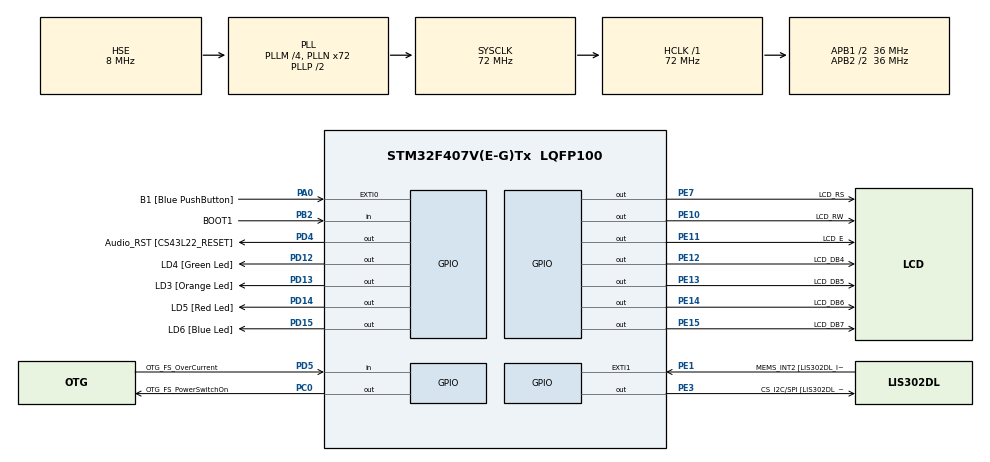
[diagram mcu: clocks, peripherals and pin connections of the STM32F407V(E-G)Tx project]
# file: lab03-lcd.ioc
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Mcu.Family=STM32F4
Mcu.Name=STM32F407V(E-G)Tx
Mcu.Package=LQFP100
NVIC.PriorityGroup=NVIC_PRIORITYGROUP_0
PA0-WKUP.GPIO_Label=B1 [Blue PushButton]
PA0-WKUP.Signal=GPXTI0
PA10.GPIO_Label=OTG_FS_ID
PA10.GPIO_Mode=GPIO_MODE_AF_PP
PA10.GPIO_PuPd=GPIO_NOPULL
PA10.GPIO_Speed=GPIO_SPEED_FREQ_LOW
PA10.Signal=USB_OTG_FS_ID
PA11.GPIO_Label=OTG_FS_DM
PA11.GPIO_Mode=GPIO_MODE_AF_PP
PA11.GPIO_PuPd=GPIO_NOPULL
PA11.GPIO_Speed=GPIO_SPEED_FREQ_LOW
PA11.Signal=USB_OTG_FS_DM
PA12.GPIO_Label=OTG_FS_DP
PA12.GPIO_Mode=GPIO_MODE_AF_PP
PA12.GPIO_PuPd=GPIO_NOPULL
PA12.GPIO_Speed=GPIO_SPEED_FREQ_LOW
PA12.Signal=USB_OTG_FS_DP
PA13.GPIO_Label=SWDIO
PA13.Signal=SYS_JTMS-SWDIO
PA14.GPIO_Label=SWCLK
PA14.Signal=SYS_JTCK-SWCLK
PA4.GPIO_Label=I2S3_WS [CS43L22_LRCK]
PA4.GPIO_Mode=GPIO_MODE_AF_PP
PA4.GPIO_PuPd=GPIO_NOPULL
PA4.GPIO_Speed=GPIO_SPEED_FREQ_LOW
PA4.Signal=I2S3_WS
PA5.GPIO_Label=SPI1_SCK [LIS302DL_SCL/SPC]
PA5.GPIO_Mode=GPIO_MODE_AF_PP
PA5.GPIO_PuPd=GPIO_NOPULL
PA5.GPIO_Speed=GPIO_SPEED_FREQ_LOW
PA5.Signal=SPI1_SCK
PA6.GPIO_Label=SPI1_MISO [LIS302DL_SDO]
PA6.GPIO_Mode=GPIO_MODE_AF_PP
PA6.GPIO_PuPd=GPIO_NOPULL
PA6.GPIO_Speed=GPIO_SPEED_FREQ_LOW
PA6.Signal=SPI1_MISO
PA7.GPIO_Label=SPI1_MOSI [LIS302DL_SDA/SDI/SDO]
PA7.GPIO_Mode=GPIO_MODE_AF_PP
PA7.GPIO_PuPd=GPIO_NOPULL
PA7.GPIO_Speed=GPIO_SPEED_FREQ_LOW
PA7.Signal=SPI1_MOSI
PA9.GPIO_Label=VBUS_FS
PA9.GPIO_Mode=GPIO_MODE_INPUT
PA9.GPIO_PuPd=GPIO_NOPULL
PA9.Signal=USB_OTG_FS_VBUS
PB10.GPIO_Label=CLK_IN [MP45DT02_CLK]
PB10.GPIO_Mode=GPIO_MODE_AF_PP
PB10.GPIO_PuPd=GPIO_NOPULL
PB10.GPIO_Speed=GPIO_SPEED_FREQ_LOW
PB10.Signal=I2S2_CK
PB2.GPIO_Label=BOOT1
PB2.GPIO_Mode=GPIO_MODE_INPUT
PB2.GPIO_PuPd=GPIO_NOPULL
PB2.Signal=GPIO_Input
PB3.GPIO_Label=SWO
PB3.Signal=SYS_JTDO-SWO
PB6.GPIO_Label=Audio_SCL [CS43L22_SCL]
PB6.GPIO_Mode=GPIO_MODE_AF_OD
PB6.GPIO_PuPd=GPIO_NOPULL
PB6.GPIO_Speed=GPIO_SPEED_FREQ_LOW
PB6.Signal=I2C1_SCL
PB9.GPIO_Label=Audio_SDA [CS43L22_SDA]
PB9.GPIO_Mode=GPIO_MODE_AF_OD
PB9.GPIO_PuPd=GPIO_NOPULL
PB9.GPIO_Speed=GPIO_SPEED_FREQ_LOW
PB9.Signal=I2C1_SDA
PC0.GPIO_Label=OTG_FS_PowerSwitchOn
PC0.GPIO_PuPd=GPIO_NOPULL
PC0.GPIO_Speed=GPIO_SPEED_FREQ_LOW
PC0.PinState=GPIO_PIN_SET
PC0.Signal=GPIO_Output
PC10.GPIO_Label=I2S3_SCK [CS43L22_SCLK]
PC10.GPIO_Mode=GPIO_MODE_AF_PP
PC10.GPIO_PuPd=GPIO_NOPULL
PC10.GPIO_Speed=GPIO_SPEED_FREQ_LOW
PC10.Signal=I2S3_CK
PC12.GPIO_Label=I2S3_SD [CS43L22_SDIN]
PC12.GPIO_Mode=GPIO_MODE_AF_PP
PC12.GPIO_PuPd=GPIO_NOPULL
PC12.GPIO_Speed=GPIO_SPEED_FREQ_LOW
PC12.Signal=I2S3_SD
PC14-OSC32_IN.GPIO_Label=PC14-OSC32_IN
PC14-OSC32_IN.Mode=LSE-External-Oscillator
PC14-OSC32_IN.Signal=RCC_OSC32_IN
PC15-OSC32_OUT.GPIO_Label=PC15-OSC32_OUT
PC15-OSC32_OUT.Mode=LSE-External-Oscillator
PC15-OSC32_OUT.Signal=RCC_OSC32_OUT
PC3.GPIO_Label=PDM_OUT [MP45DT02_DOUT]
PC3.GPIO_Mode=GPIO_MODE_AF_PP
PC3.GPIO_PuPd=GPIO_NOPULL
PC3.GPIO_Speed=GPIO_SPEED_FREQ_LOW
PC3.Signal=I2S2_SD
PC7.GPIO_Label=I2S3_MCK [CS43L22_MCLK]
PC7.GPIO_Mode=GPIO_MODE_AF_PP
PC7.GPIO_PuPd=GPIO_NOPULL
PC7.GPIO_Speed=GPIO_SPEED_FREQ_LOW
PC7.Signal=I2S3_MCK
PD12.GPIO_Label=LD4 [Green Led]
PD12.GPIO_PuPd=GPIO_NOPULL
PD12.GPIO_Speed=GPIO_SPEED_FREQ_LOW
PD12.Signal=GPIO_Output
PD13.GPIO_Label=LD3 [Orange Led]
PD13.GPIO_PuPd=GPIO_NOPULL
PD13.GPIO_Speed=GPIO_SPEED_FREQ_LOW
PD13.Signal=GPIO_Output
PD14.GPIO_Label=LD5 [Red Led]
PD14.GPIO_PuPd=GPIO_NOPULL
PD14.GPIO_Speed=GPIO_SPEED_FREQ_LOW
PD14.Signal=GPIO_Output
PD15.GPIO_Label=LD6 [Blue Led]
PD15.GPIO_PuPd=GPIO_NOPULL
PD15.GPIO_Speed=GPIO_SPEED_FREQ_LOW
PD15.Signal=GPIO_Output
PD4.GPIO_Label=Audio_RST [CS43L22_RESET]
PD4.GPIO_PuPd=GPIO_NOPULL
PD4.GPIO_Speed=GPIO_SPEED_FREQ_LOW
PD4.Signal=GPIO_Output
PD5.GPIO_Label=OTG_FS_OverCurrent
PD5.GPIO_Mode=GPIO_MODE_INPUT
PD5.GPIO_PuPd=GPIO_NOPULL
PD5.Signal=GPIO_Input
PE1.GPIO_Label=MEMS_INT2 [LIS302DL_INT2]
PE1.GPIO_ModeDefaultEXTI=GPIO_MODE_EVT_RISING
PE1.GPIO_PuPd=GPIO_NOPULL
PE1.Signal=GPXTI1
PE10.GPIO_Label=LCD_RW
PE10.Signal=GPIO_Output
PE11.GPIO_Label=LCD_E
PE11.Signal=GPIO_Output
PE12.GPIO_Label=LCD_DB4
PE12.Signal=GPIO_Output
PE13.GPIO_Label=LCD_DB5
PE13.Signal=GPIO_Output
PE14.GPIO_Label=LCD_DB6
PE14.Signal=GPIO_Output
PE15.GPIO_Label=LCD_DB7
PE15.Signal=GPIO_Output
PE3.GPIO_Label=CS_I2C/SPI [LIS302DL_CS_I2C/SPI]
PE3.GPIO_PuPd=GPIO_NOPULL
PE3.GPIO_Speed=GPIO_SPEED_FREQ_LOW
PE3.Signal=GPIO_Output
PE7.GPIO_Label=LCD_RS
PE7.Signal=GPIO_Output
PH0-OSC_IN.GPIO_Label=PH0-OSC_IN
PH0-OSC_IN.Mode=HSE-External-Oscillator
PH0-OSC_IN.Signal=RCC_OSC_IN
PH1-OSC_OUT.GPIO_Label=PH1-OSC_OUT
PH1-OSC_OUT.Mode=HSE-External-Oscillator
PH1-OSC_OUT.Signal=RCC_OSC_OUT
ProjectManager.HeapSize=0x200
ProjectManager.StackSize=0x400
ProjectManager.TargetToolchain=STM32CubeIDE
RCC.48MHZClocksFreq_Value=20571428.57142857
RCC.AHBFreq_Value=72000000
RCC.APB1CLKDivider=RCC_HCLK_DIV2
RCC.APB1Freq_Value=36000000
RCC.APB1TimFreq_Value=72000000
RCC.APB2CLKDivider=RCC_HCLK_DIV2
RCC.APB2Freq_Value=36000000
RCC.APB2TimFreq_Value=72000000
RCC.CortexFreq_Value=72000000
RCC.HCLKFreq_Value=72000000
RCC.HSE_VALUE=8000000
RCC.HSI_VALUE=16000000
RCC.PLLM=4
RCC.PLLN=72
RCC.PLLQ=7
RCC.PLLSourceVirtual=RCC_PLLSOURCE_HSE
RCC.SYSCLKFreq_VALUE=72000000
RCC.SYSCLKSource=RCC_SYSCLKSOURCE_PLLCLK
RCC.VCOOutputFreq_Value=144000000
board=STM32F407G-DISC1

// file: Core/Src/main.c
/* USER CODE BEGIN Header */
/**
  ******************************************************************************
  * @file           : main.c
  * @brief          : Main program body
  ******************************************************************************
  * @attention
  *
  * Copyright (c) 2025 STMicroelectronics.
  * All rights reserved.
  *
  * This software is licensed under terms that can be found in the LICENSE file
  * in the root directory of this software component.
  * If no LICENSE file comes with this software, it is provided AS-IS.
  *
  ******************************************************************************
  */
/* USER CODE END Header */
#include "main.h"
#include "gpio.h"
#include "lcd.h"

void SystemClock_Config(void);

int main(void)
{

  /* MCU Configuration--------------------------------------------------------*/

  /* Reset of all peripherals, Initializes the Flash interface and the Systick. */
  HAL_Init();

  /* Configure the system clock */
  SystemClock_Config();

  /* Initialize all configured peripherals */
  MX_GPIO_Init();
  /* USER CODE BEGIN 2 */
  // task 1
  LCD_Init(); //inicjalizacja wysietlacza
//  LCD_WriteCommand(LCD_CLEAR); //wyczyszczenie wyświetlacza
//  LCD_WriteCommand(LCD_DDRAM_SET + 5);
//  LCD_WriteText("WI ZUT");
//  LCD_WriteCommand(LCD_DDRAM_SET + 0x40 + 5);
//  LCD_WriteText("WI ZUT");

  /* USER CODE END 2 */

  /* Infinite loop */
  /* USER CODE BEGIN WHILE */
  int i = 0;
  char* text = "WI ZUT";
  int len = 5;
  int left = LCD_DISPLAY_CURSOR_SHIFT | LCD_SHIFT_DISPLAY | LCD_SHIFT_LEFT;
  int right = LCD_DISPLAY_CURSOR_SHIFT | LCD_SHIFT_DISPLAY | LCD_SHIFT_RIGHT;
  int direction = -1; // -1 - left, 1 - right;
  LCD_WriteCommand(LCD_CLEAR);
  LCD_WriteCommand(LCD_ENTRY_MODE | LCD_EM_INCREMENT);
//  LCD_WriteCommand(LCD_DDRAM_SET + 16); // task 2
  LCD_WriteCommand(LCD_DDRAM_SET + 10); // task 3
  // task 4
  HAL_GPIO_WritePin(GPIOD, GPIO_PIN_13, GPIO_PIN_SET);
  HAL_GPIO_WritePin(GPIOD, GPIO_PIN_15, GPIO_PIN_RESET);
  LCD_WriteText(text);
  while (1)
  {
    /* USER CODE END WHILE */
    /* USER CODE BEGIN 3 */
	  // task 2
//	  LCD_WriteCommand(left);
//	  HAL_Delay(200);
//	  if (i++ == 22) {
//		  LCD_WriteCommand(LCD_CLEAR);
//		  LCD_WriteCommand(LCD_DDRAM_SET + 16);
//		  LCD_WriteText(text);
//		  i = 0;
//	  }
	  // task 3
//	  HAL_GPIO_WritePin(GPIOD, GPIO_PIN_13, GPIO_PIN_SET);
//	  HAL_GPIO_WritePin(GPIOD, GPIO_PIN_15 , GPIO_PIN_RESET);
//	  for (int i = 16 - len; i > 1; i--) {
//		  LCD_WriteCommand(left);
//		  HAL_Delay(200);
//	  }
//	  HAL_GPIO_WritePin(GPIOD, GPIO_PIN_13, GPIO_PIN_RESET);
//	  HAL_GPIO_WritePin(GPIOD, GPIO_PIN_15, GPIO_PIN_SET);
//	  for (int i = 1; i < 16 - len; i++) {
//		  LCD_WriteCommand(right);
//		  HAL_Delay(200);
//	  }

	  // task 4
	  if (HAL_GPIO_ReadPin(GPIOA, GPIO_PIN_0)) {
		  direction *= -1;
		  HAL_GPIO_TogglePin(GPIOD, GPIO_PIN_13);
		  HAL_GPIO_TogglePin(GPIOD, GPIO_PIN_15);
		  HAL_Delay(300);
	  }

	  LCD_WriteCommand(direction == -1 ? left : right);

	  i += direction;

	  if (i < 0 || i > 22) {
	      i = (direction == -1) ? 22 : 0;
	      LCD_WriteCommand(LCD_CLEAR);
	      LCD_WriteCommand(direction == -1 ? LCD_DDRAM_SET + 16 : LCD_DDRAM_SET);
	      if (direction == 1) {
	    	  for (int i = 0; i < len; i++) {
	    		  LCD_WriteCommand(left);
	    	  }
	      }
	      LCD_WriteText(text);
	  }
	  HAL_Delay(200);
  }
  /* USER CODE END 3 */
}

void SystemClock_Config(void)
{
  RCC_OscInitTypeDef RCC_OscInitStruct = {0};
  RCC_ClkInitTypeDef RCC_ClkInitStruct = {0};

  /** Configure the main internal regulator output voltage
  */
  __HAL_RCC_PWR_CLK_ENABLE();
  __HAL_PWR_VOLTAGESCALING_CONFIG(PWR_REGULATOR_VOLTAGE_SCALE1);

  /** Initializes the RCC Oscillators according to the specified parameters
  * in the RCC_OscInitTypeDef structure.
  */
  RCC_OscInitStruct.OscillatorType = RCC_OSCILLATORTYPE_HSE;
  RCC_OscInitStruct.HSEState = RCC_HSE_ON;
  RCC_OscInitStruct.PLL.PLLState = RCC_PLL_ON;
  RCC_OscInitStruct.PLL.PLLSource = RCC_PLLSOURCE_HSE;
  RCC_OscInitStruct.PLL.PLLM = 4;
  RCC_OscInitStruct.PLL.PLLN = 72;
  RCC_OscInitStruct.PLL.PLLP = RCC_PLLP_DIV2;
  RCC_OscInitStruct.PLL.PLLQ = 7;
  if (HAL_RCC_OscConfig(&RCC_OscInitStruct) != HAL_OK)
  {
    Error_Handler();
  }

  /** Initializes the CPU, AHB and APB buses clocks
  */
  RCC_ClkInitStruct.ClockType = RCC_CLOCKTYPE_HCLK|RCC_CLOCKTYPE_SYSCLK
                              |RCC_CLOCKTYPE_PCLK1|RCC_CLOCKTYPE_PCLK2;
  RCC_ClkInitStruct.SYSCLKSource = RCC_SYSCLKSOURCE_PLLCLK;
  RCC_ClkInitStruct.AHBCLKDivider = RCC_SYSCLK_DIV1;
  RCC_ClkInitStruct.APB1CLKDivider = RCC_HCLK_DIV2;
  RCC_ClkInitStruct.APB2CLKDivider = RCC_HCLK_DIV2;

  if (HAL_RCC_ClockConfig(&RCC_ClkInitStruct, FLASH_LATENCY_2) != HAL_OK)
  {
    Error_Handler();
  }
}

void Error_Handler(void)
{
  __disable_irq();
  while (1)
  {
  }
}
